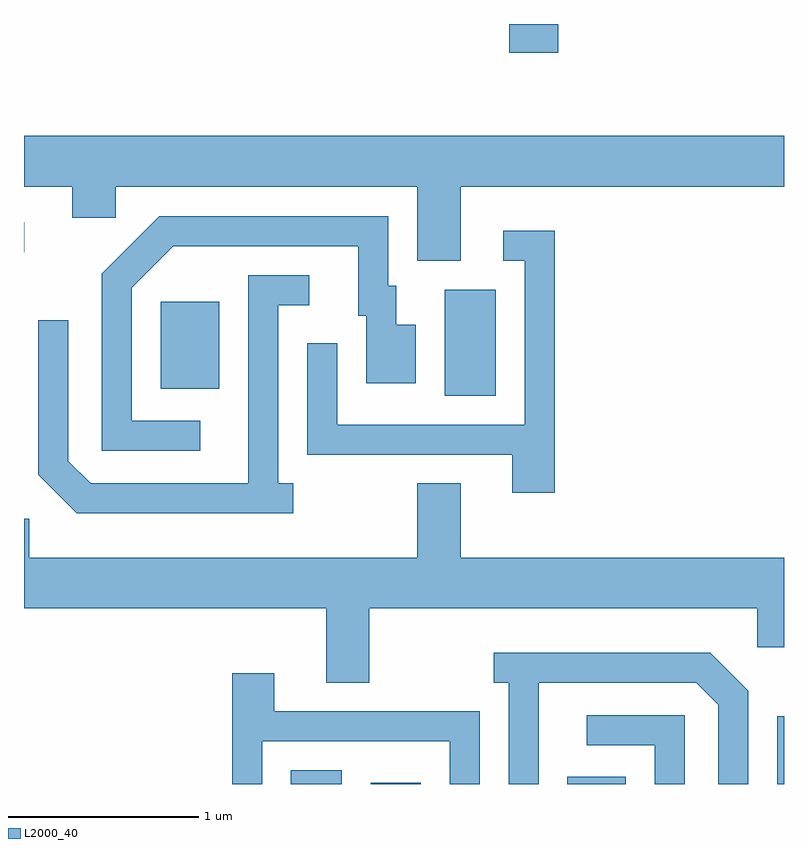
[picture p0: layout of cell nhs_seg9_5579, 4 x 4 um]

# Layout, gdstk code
import gdstk
lib = gdstk.Library(unit=1e-6, precision=1e-09)
def R(c, l, rs):  # rectangles x0, y0, x1, y1
    for r in rs: c.add(gdstk.rectangle(r[:2], r[2:], *l))
def P(c, l, *ps):  # polygons
    for p in ps: c.add(gdstk.Polygon(p, *l))
L2000_40 = (2000, 40)

nhs_seg9_5579 = lib.new_cell('nhs_seg9_5579')
R(nhs_seg9_5579, L2000_40, [(351.016,2006.432,351.284,2006.504), (351.436,2006.432,351.699,2006.439), (352.471,2006.432,352.779,2006.469), (353.576,2006.432,353.611,2006.789), (351.826,2008.476,352.094,2009.034), (350.331,2008.511,350.639,2008.969), (349.611,2009.231,349.613,2009.389), (352.166,2010.281,352.424,2010.432)])
P(nhs_seg9_5579, L2000_40, [(351.909,2009.576),(353.611,2009.576),(353.611,2009.844),(349.611,2009.844),(349.611,2009.576),(349.866,2009.576),(349.866,2009.411),(350.094,2009.411),(350.094,2009.576),(351.681,2009.576),(351.681,2009.186),(351.909,2009.186)],
  [(350.538,2008.344),(350.179,2008.344),(350.179,2009.044),(350.397,2009.261),(351.371,2009.261),(351.371,2008.896),(351.411,2008.896),(351.411,2008.541),(351.674,2008.541),(351.674,2008.849),(351.569,2008.849),(351.569,2009.054),(351.529,2009.054),(351.529,2009.419),(350.324,2009.419),(350.021,2009.117),(350.021,2008.186),(350.538,2008.186)],
  [(352.404,2009.344),(352.133,2009.344),(352.133,2009.186),(352.246,2009.186),(352.246,2008.324),(351.259,2008.324),(351.259,2008.753),(351.101,2008.753),(351.101,2008.166),(352.181,2008.166),(352.181,2007.966),(352.404,2007.966)],
  [(351.028,2008.014),(350.949,2008.014),(350.949,2008.951),(351.113,2008.951),(351.113,2009.109),(350.791,2009.109),(350.791,2008.014),(349.962,2008.014),(349.844,2008.132),(349.844,2008.873),(349.686,2008.873),(349.686,2008.059),(349.889,2007.856),(351.028,2007.856)],
  [(351.429,2007.356),(353.471,2007.356),(353.471,2007.151),(353.611,2007.151),(353.611,2007.624),(351.909,2007.624),(351.909,2008.014),(351.681,2008.014),(351.681,2007.624),(349.639,2007.624),(349.639,2007.829),(349.611,2007.829),(349.611,2007.356),(351.201,2007.356),(351.201,2006.966),(351.429,2006.966)],
  [(352.319,2006.966),(353.149,2006.966),(353.266,2006.849),(353.266,2006.432),(353.424,2006.432),(353.424,2006.922),(353.222,2007.124),(352.083,2007.124),(352.083,2006.966),(352.161,2006.966),(352.161,2006.432),(352.319,2006.432)],
  [(350.864,2006.656),(351.851,2006.656),(351.851,2006.432),(352.009,2006.432),(352.009,2006.814),(350.929,2006.814),(350.929,2007.014),(350.706,2007.014),(350.706,2006.432),(350.864,2006.432)],
  [(353.089,2006.794),(352.573,2006.794),(352.573,2006.636),(352.931,2006.636),(352.931,2006.432),(353.089,2006.432)])

lib.write_gds('nhs_seg9_5579.gds')
